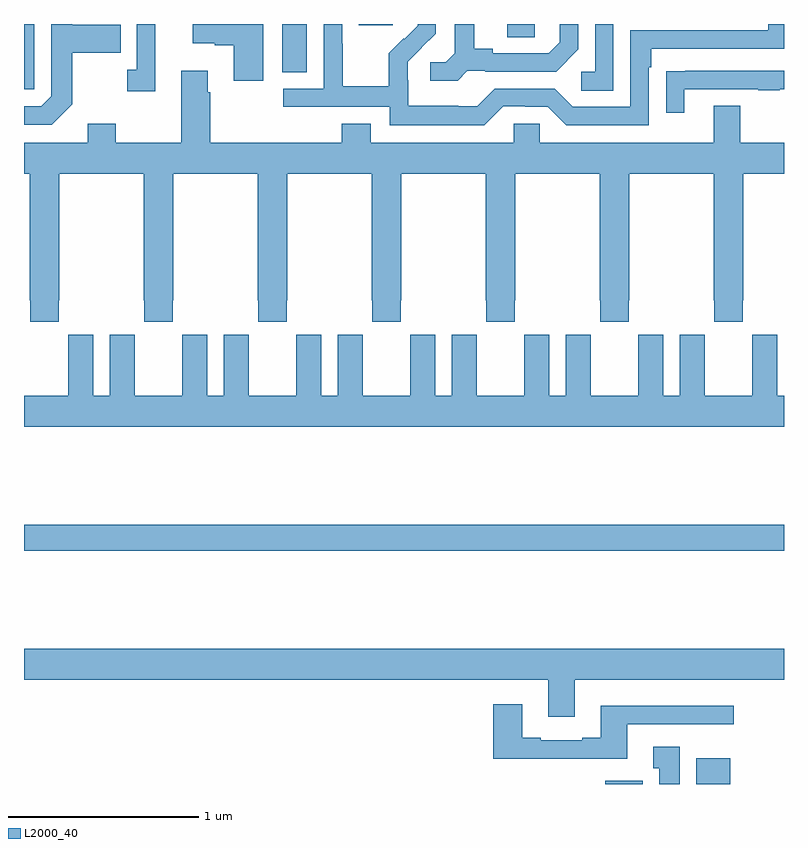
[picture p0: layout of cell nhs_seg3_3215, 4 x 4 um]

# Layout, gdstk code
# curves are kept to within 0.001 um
import gdstk
lib = gdstk.Library(unit=1e-6, precision=1e-09)
def R(c, l, rs):  # rectangles x0, y0, x1, y1
    for r in rs: c.add(gdstk.rectangle(r[:2], r[2:], *l))
def P(c, l, *ps):  # polygons
    for p in ps: c.add(gdstk.Polygon(p, *l))
L2000_40 = (2000, 40)

nhs_seg3_3215 = lib.new_cell('nhs_seg3_3215')
R(nhs_seg3_3215, L2000_40, [(282.059,668.4,282.256,668.416), (282.539,668.4,282.718,668.536), (279,669.628,283,669.764), (279,672.057,279.054,672.4), (280.358,672.145,280.489,672.4), (281.543,672.331,281.688,672.4), (280.763,672.393,280.942,672.4)])
P(nhs_seg3_3215, L2000_40, [(279.253,671.977),(279.253,672.25),(279.509,672.25),(279.509,672.397),(279.253,672.397),(279.253,672.4),(279.144,672.4),(279.144,672.021),(279.09,671.967),(279,671.967),(279,671.871),(279.147,671.871)],
  [(281.523,671.967),(281.639,671.967),(281.639,671.964),(281.757,671.964),(281.853,671.868),(282.288,671.868),(282.288,672.173),(282.301,672.173),(282.301,672.27),(283,672.27),(283,672.4),(282.917,672.4),(282.917,672.366),(282.192,672.366),(282.192,671.964),(281.889,671.964),(281.793,672.06),(281.478,672.06),(281.385,671.967),(281.285,671.967),(281.285,671.971),(281.022,671.971),(281.022,672.105),(281.02,672.105),(281.02,672.202),(281.166,672.35),(281.166,672.4),(281.072,672.4),(281.072,672.392),(281.001,672.321),(280.998,672.324),(280.921,672.247),(280.921,672.073),(280.677,672.073),(280.677,672.296),(280.674,672.296),(280.674,672.4),(280.578,672.4),(280.578,672.06),(280.365,672.06),(280.365,671.964),(280.926,671.964),(280.926,671.867),(281.423,671.867)],
  [(280.258,672.4),(279.888,672.4),(279.888,672.299),(280.004,672.299),(280.004,672.287),(280.103,672.287),(280.103,672.102),(280.258,672.102)],
  [(279.692,672.4),(279.594,672.4),(279.594,672.158),(279.543,672.158),(279.543,672.045),(279.692,672.045)],
  [(281.334,672.153),(281.428,672.153),(281.428,672.15),(281.8,672.15),(281.916,672.266),(281.916,672.4),(281.819,672.4),(281.819,672.303),(281.762,672.246),(281.467,672.246),(281.467,672.269),(281.371,672.269),(281.371,672.4),(281.267,672.4),(281.267,672.245),(281.22,672.198),(281.139,672.198),(281.139,672.101),(281.282,672.101)],
  [(282.102,672.4),(282.006,672.4),(282.006,672.15),(281.934,672.15),(281.934,672.049),(282.102,672.049)],
  [(280.825,671.875),(280.673,671.875),(280.673,671.776),(279.98,671.776),(279.98,672.041),(279.967,672.041),(279.967,672.154),(279.827,672.154),(279.827,671.776),(279.483,671.776),(279.483,671.875),(279.335,671.875),(279.335,671.776),(279,671.776),(279,671.612),(279.031,671.612),(279.031,670.945),(279.033,670.945),(279.033,670.833),(279.183,670.833),(279.183,670.945),(279.186,670.945),(279.186,671.612),(279.631,671.612),(279.631,670.945),(279.633,670.945),(279.633,670.833),(279.783,670.833),(279.783,670.945),(279.786,670.945),(279.786,671.612),(280.231,671.612),(280.231,670.945),(280.233,670.945),(280.233,670.833),(280.383,670.833),(280.383,670.945),(280.386,670.945),(280.386,671.612),(280.831,671.612),(280.831,670.945),(280.833,670.945),(280.833,670.833),(280.983,670.833),(280.983,670.945),(280.986,670.945),(280.986,671.612),(281.431,671.612),(281.431,670.945),(281.433,670.945),(281.433,670.833),(281.583,670.833),(281.583,670.945),(281.586,670.945),(281.586,671.612),(282.031,671.612),(282.031,670.945),(282.033,670.945),(282.033,670.833),(282.183,670.833),(282.183,670.945),(282.186,670.945),(282.186,671.612),(282.631,671.612),(282.631,670.945),(282.633,670.945),(282.633,670.833),(282.783,670.833),(282.783,670.945),(282.786,670.945),(282.786,671.612),(283,671.612),(283,671.776),(282.769,671.776),(282.769,671.971),(282.629,671.971),(282.629,671.776),(281.715,671.776),(281.715,671.874),(281.577,671.874),(281.577,671.776),(280.825,671.776)],
  [(282.475,672.057),(282.865,672.057),(282.865,672.052),(282.977,672.052),(282.977,672.057),(283,672.057),(283,672.153),(282.481,672.153),(282.481,672.152),(282.379,672.152),(282.379,671.934),(282.475,671.934)],
  [(283,670.444),(282.964,670.444),(282.964,670.765),(282.834,670.765),(282.834,670.652),(282.833,670.652),(282.833,670.444),(282.583,670.444),(282.583,670.652),(282.582,670.652),(282.582,670.765),(282.452,670.765),(282.452,670.444),(282.364,670.444),(282.364,670.765),(282.234,670.765),(282.234,670.652),(282.233,670.652),(282.233,670.444),(281.983,670.444),(281.983,670.652),(281.982,670.652),(281.982,670.765),(281.852,670.765),(281.852,670.444),(281.764,670.444),(281.764,670.765),(281.634,670.765),(281.634,670.652),(281.633,670.652),(281.633,670.444),(281.383,670.444),(281.383,670.652),(281.382,670.652),(281.382,670.765),(281.252,670.765),(281.252,670.444),(281.164,670.444),(281.164,670.765),(281.034,670.765),(281.034,670.652),(281.033,670.652),(281.033,670.444),(280.783,670.444),(280.783,670.652),(280.782,670.652),(280.782,670.765),(280.652,670.765),(280.652,670.444),(280.564,670.444),(280.564,670.765),(280.434,670.765),(280.434,670.652),(280.433,670.652),(280.433,670.444),(280.183,670.444),(280.183,670.652),(280.182,670.652),(280.182,670.765),(280.052,670.765),(280.052,670.444),(279.964,670.444),(279.964,670.765),(279.834,670.765),(279.834,670.652),(279.833,670.652),(279.833,670.444),(279.583,670.444),(279.583,670.652),(279.582,670.652),(279.582,670.765),(279.452,670.765),(279.452,670.444),(279.364,670.444),(279.364,670.765),(279.234,670.765),(279.234,670.652),(279.233,670.652),(279.233,670.444),(279,670.444),(279,670.28),(283,670.28)],
  [(281.899,668.948),(283,668.948),(283,669.112),(279,669.112),(279,668.948),(281.759,668.948),(281.759,668.754),(281.899,668.754)],
  [(282.175,668.715),(282.736,668.715),(282.736,668.812),(282.035,668.812),(282.035,668.644),(281.939,668.644),(281.939,668.631),(281.719,668.631),(281.719,668.644),(281.623,668.644),(281.623,668.821),(281.471,668.821),(281.471,668.534),(282.175,668.534)],
  [(282.451,668.596),(282.311,668.596),(282.311,668.483),(282.344,668.483),(282.344,668.4),(282.451,668.4)])

lib.write_gds('nhs_seg3_3215.gds')
